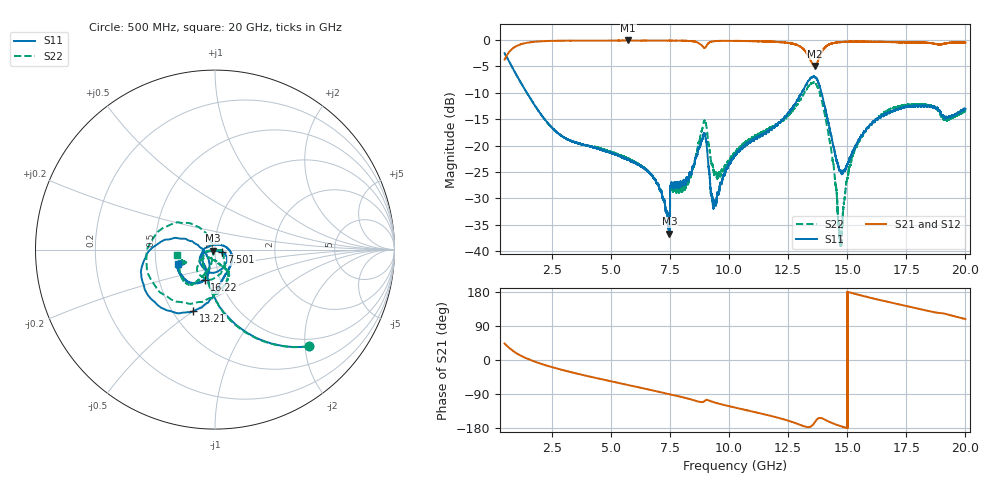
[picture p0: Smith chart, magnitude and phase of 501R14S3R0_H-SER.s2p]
!{501R14S3R0}
!Johanson Technology Inc.
!www.johansontechnology.com
!Test Board Conditions:
!Substrate Type  RO4350B
!Substrate Thickness  20 mil
!Substrate Dk  3.66
!TL Type: GCPW
!TL Trace Width  36 mil
!TL Gap  12 mil
!Electrode orientation  Horizontal
!DUT TOPOLOGY	SERIES
!Mounting Pad LxW  26x36 mil
! Created Wed Mar 11 15:58:49 2020
# mhz S ma R 50
! 2 Port Network Data from SP1.SP block
! freq  magS11  angS11  magS21  angS21  magS12  angS12  magS22  angS22
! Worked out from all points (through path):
!   19501 points, 500 MHz to 20 GHz, reference 50 ohm
!   highest |S21| = -0.07 dB at 5.73 GHz (marker M1); lowest = -4.9 dB at 13.62 GHz (marker M2)
!   group delay of S21, straight-line fit = 37.1 ps
!   lowest |S11| = -36.7 dB at 7.477 GHz (marker M3), VSWR 1.03, Z = 48.6 - j0.501 ohm
!   |S11| at or under -10 dB: 1.443867 GHz to 1.4445 GHz (633.3 kHz wide, 0.0439 % of centre); 1.445 GHz to 13.07 GHz (11.62 GHz wide, 160 % of centre); 13.91 GHz to end of sweep
!   |S22| runs from -39.0 to -2.5 dB; largest |S21 - S12| = 0.019
!   S11 on the Smith chart (normalised r, x): 500 MHz: 0.84, -2.08; 7.501 GHz: 1.08, -0.03; 13.21 GHz: 0.63, -0.50; 16.22 GHz: 0.85, -0.30; 20 GHz: 0.65, -0.11
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500  0.7511 -45.8  0.653 43.7  0.654 43.7  0.75 -45.9
1544  0.2913 -88.1  0.9502 1.4  0.9503 1.5  0.2917 -88.4
3750  0.1028 -125.8  0.987 -38.7  0.9866 -38.7  0.1029 -132.0
5730  0.07339 -160.0  0.9922 -66.1  0.9905 -66.0  0.07564 -148.8
7000  0.04315 -166.3  0.9905 -83.5  0.9906 -83.6  0.04286 -169.1
7477  0.01469 -159.5  0.9906 -90.3  0.9894 -90.2  0.01528 -161.3
7501  0.04017 -17.8  0.9888 -90.6  0.9889 -90.6  0.03775 -1.9
7598  0.04224 -17.5  0.9881 -92.0  0.9883 -91.9  0.03968 -1.6
8326  0.05523 -21.1  0.9805 -103.0  0.9811 -102.9  0.05133 -30.5
8943  0.1315 -97.7  0.8453 -109.3  0.8447 -109.3  0.1722 -100.4
9376  0.02822 89.9  0.9767 -111.9  0.9763 -111.9  0.05339 -129.7
10250  0.08135 -2.9  0.9828 -125.5  0.9836 -125.4  0.08515 -71.4
12433  0.1931 -82.3  0.9446 -158.9  0.9491 -158.6  0.1847 -69.8
13215  0.3652 -109.5  0.7884 -175.9  0.79 -176.0  0.3278 -113.2
13500  0.4443 -135.7  0.6084 -173.7  0.61 -174.2  0.3892 -147.8
13620  0.4485 -150.7  0.5702 -164.8  0.5708 -165.5  0.391 -166.6
14243  0.1491 161.3  0.9113 -163.2  0.911 -163.1  0.1141 119.7
14703  0.05884 -162.4  0.9557 -174.1  0.9579 -174.1  0.01209 -177.7
15256  0.08993 -109.6  0.9674 175.8  0.9692 175.7  0.08141 -104.2
16223  0.1785 -108.5  0.9617 160.6  0.9628 160.6  0.1793 -116.3
16750  0.2042 -115.4  0.9612 153.1  0.9553 152.9  0.2185 -120.6
20000  0.2232 -159.3  0.9451 108.0  0.9463 108.2  0.2148 -172.7
